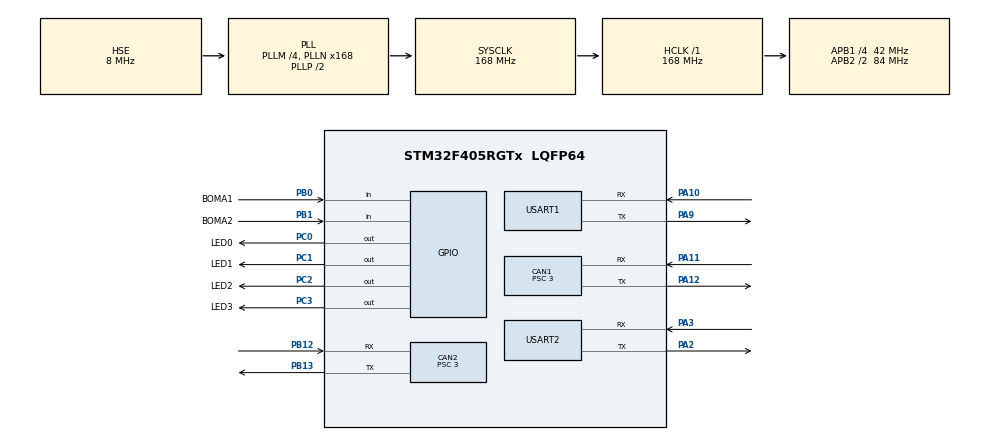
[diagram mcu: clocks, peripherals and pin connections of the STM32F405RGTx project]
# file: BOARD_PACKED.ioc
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CAN1.ABOM=ENABLE
CAN1.BS1=CAN_BS1_9TQ
CAN1.BS2=CAN_BS2_4TQ
CAN1.CalculateBaudRate=1000000
CAN1.CalculateTimeBit=1000
CAN1.CalculateTimeQuantum=71.42857142857143
CAN1.Prescaler=3
CAN2.ABOM=ENABLE
CAN2.BS1=CAN_BS1_9TQ
CAN2.BS2=CAN_BS2_4TQ
CAN2.CalculateBaudRate=1000000
CAN2.CalculateTimeBit=1000
CAN2.CalculateTimeQuantum=71.42857142857143
CAN2.Prescaler=3
FREERTOS.Tasks01=defaultTask,24,512,StartDefaultTask,Default,NULL,Dynamic,NULL,NULL;Send_Data,8,128,Send_Data_Function,Default,NULL,Dynamic,NULL,NULL
Mcu.Family=STM32F4
Mcu.Name=STM32F405RGTx
Mcu.Package=LQFP64
NVIC.CAN1_RX0_IRQn=true\:5\:0\:false\:false\:true\:true\:true\:true\:true
NVIC.CAN1_TX_IRQn=true\:5\:0\:false\:false\:true\:true\:true\:true\:true
NVIC.CAN2_RX0_IRQn=true\:5\:0\:false\:false\:true\:true\:true\:true\:true
NVIC.CAN2_TX_IRQn=true\:5\:0\:false\:false\:true\:true\:true\:true\:true
NVIC.PriorityGroup=NVIC_PRIORITYGROUP_4
NVIC.TIM2_IRQn=true\:5\:0\:false\:false\:true\:true\:true\:true\:true
NVIC.TIM3_IRQn=true\:15\:0\:false\:false\:true\:false\:false\:true\:true
NVIC.TimeBase=TIM3_IRQn
NVIC.TimeBaseIP=TIM3
NVIC.USART1_IRQn=true\:5\:0\:false\:false\:true\:true\:true\:true\:true
NVIC.USART2_IRQn=true\:5\:0\:false\:false\:true\:true\:true\:true\:true
PA10.GPIO_PuPd=GPIO_PULLUP
PA10.Mode=Asynchronous
PA10.Signal=USART1_RX
PA11.Mode=CAN_Activate
PA11.Signal=CAN1_RX
PA12.Mode=CAN_Activate
PA12.Signal=CAN1_TX
PA13.Mode=Serial_Wire
PA13.Signal=SYS_JTMS-SWDIO
PA14.Mode=Serial_Wire
PA14.Signal=SYS_JTCK-SWCLK
PA2.GPIO_PuPd=GPIO_PULLUP
PA2.Mode=Asynchronous
PA2.Signal=USART2_TX
PA3.GPIO_PuPd=GPIO_PULLUP
PA3.Mode=Asynchronous
PA3.Signal=USART2_RX
PA9.GPIO_PuPd=GPIO_PULLUP
PA9.Mode=Asynchronous
PA9.Signal=USART1_TX
PB0.GPIO_Label=BOMA1
PB0.GPIO_PuPd=GPIO_PULLUP
PB0.Signal=GPIO_Input
PB1.GPIO_Label=BOMA2
PB1.GPIO_PuPd=GPIO_PULLUP
PB1.Signal=GPIO_Input
PB12.Mode=CAN_Activate
PB12.Signal=CAN2_RX
PB13.Mode=CAN_Activate
PB13.Signal=CAN2_TX
PC0.GPIO_Label=LED0
PC0.GPIO_Speed=GPIO_SPEED_FREQ_HIGH
PC0.PinState=GPIO_PIN_SET
PC0.Signal=GPIO_Output
PC1.GPIO_Label=LED1
PC1.GPIO_Speed=GPIO_SPEED_FREQ_HIGH
PC1.PinState=GPIO_PIN_SET
PC1.Signal=GPIO_Output
PC14-OSC32_IN.Mode=LSE-External-Oscillator
PC14-OSC32_IN.Signal=RCC_OSC32_IN
PC15-OSC32_OUT.Mode=LSE-External-Oscillator
PC15-OSC32_OUT.Signal=RCC_OSC32_OUT
PC2.GPIO_Label=LED2
PC2.GPIO_Speed=GPIO_SPEED_FREQ_HIGH
PC2.PinState=GPIO_PIN_SET
PC2.Signal=GPIO_Output
PC3.GPIO_Label=LED3
PC3.GPIO_Speed=GPIO_SPEED_FREQ_HIGH
PC3.PinState=GPIO_PIN_SET
PC3.Signal=GPIO_Output
PH0-OSC_IN.Mode=HSE-External-Oscillator
PH0-OSC_IN.Signal=RCC_OSC_IN
PH1-OSC_OUT.Mode=HSE-External-Oscillator
PH1-OSC_OUT.Signal=RCC_OSC_OUT
ProjectManager.HeapSize=0x200
ProjectManager.StackSize=0x400
ProjectManager.TargetToolchain=MDK-ARM V5.32
RCC.48MHZClocksFreq_Value=84000000
RCC.AHBFreq_Value=168000000
RCC.APB1CLKDivider=RCC_HCLK_DIV4
RCC.APB1Freq_Value=42000000
RCC.APB1TimFreq_Value=84000000
RCC.APB2CLKDivider=RCC_HCLK_DIV2
RCC.APB2Freq_Value=84000000
RCC.APB2TimFreq_Value=168000000
RCC.CortexFreq_Value=168000000
RCC.HCLKFreq_Value=168000000
RCC.HSE_VALUE=8000000
RCC.HSI_VALUE=16000000
RCC.PLLM=4
RCC.PLLN=168
RCC.PLLSourceVirtual=RCC_PLLSOURCE_HSE
RCC.SYSCLKFreq_VALUE=168000000
RCC.SYSCLKSource=RCC_SYSCLKSOURCE_PLLCLK
RCC.VCOOutputFreq_Value=336000000
TIM2.AutoReloadPreload=TIM_AUTORELOAD_PRELOAD_ENABLE
TIM2.Period=9999
TIM2.Prescaler=83
USART1.VirtualMode=VM_ASYNC
USART2.VirtualMode=VM_ASYNC
VP_FREERTOS_VS_CMSIS_V2.Mode=CMSIS_V2
VP_SYS_VS_tim3.Mode=TIM3
VP_TIM2_VS_ClockSourceINT.Mode=Internal
board=custom

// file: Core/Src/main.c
/* USER CODE BEGIN Header */
/**
  ******************************************************************************
  * @file           : main.c
  * @brief          : Main program body
  ******************************************************************************
  * @attention
  *
  * Copyright (c) 2023 STMicroelectronics.
  * All rights reserved.
  *
  * This software is licensed under terms that can be found in the LICENSE file
  * in the root directory of this software component.
  * If no LICENSE file comes with this software, it is provided AS-IS.
  *
  ******************************************************************************
  */
/* USER CODE END Header */
#include "main.h"
#include "cmsis_os.h"
#include "can.h"
#include "tim.h"
#include "usart.h"
#include "gpio.h"

void SystemClock_Config(void);
void MX_FREERTOS_Init(void);

int main(void)
{

  /* MCU Configuration--------------------------------------------------------*/

  /* Reset of all peripherals, Initializes the Flash interface and the Systick. */
  HAL_Init();

  /* Configure the system clock */
  SystemClock_Config();

  /* Initialize all configured peripherals */
  MX_GPIO_Init();
  MX_CAN1_Init();
  MX_CAN2_Init();
  MX_TIM2_Init();
  MX_USART1_UART_Init();
  MX_USART2_UART_Init();
  /* USER CODE BEGIN 2 */
  HAL_TIM_Base_Start_IT(&htim2);  //start the tim2
	User_Open_Can1();
  VESC_Init();
  Pid_Init_All();
  /* USER CODE END 2 */

  /* Init scheduler */
  osKernelInitialize();  /* Call init function for freertos objects (in freertos.c) */
  MX_FREERTOS_Init();

  /* Start scheduler */
  osKernelStart();
  /* We should never get here as control is now taken by the scheduler */
  /* Infinite loop */
  while (1)
  {

  }
}

void SystemClock_Config(void)
{
  RCC_OscInitTypeDef RCC_OscInitStruct = {0};
  RCC_ClkInitTypeDef RCC_ClkInitStruct = {0};

  /** Configure the main internal regulator output voltage
  */
  __HAL_RCC_PWR_CLK_ENABLE();
  __HAL_PWR_VOLTAGESCALING_CONFIG(PWR_REGULATOR_VOLTAGE_SCALE1);

  /** Initializes the RCC Oscillators according to the specified parameters
  * in the RCC_OscInitTypeDef structure.
  */
  RCC_OscInitStruct.OscillatorType = RCC_OSCILLATORTYPE_HSE;
  RCC_OscInitStruct.HSEState = RCC_HSE_ON;
  RCC_OscInitStruct.PLL.PLLState = RCC_PLL_ON;
  RCC_OscInitStruct.PLL.PLLSource = RCC_PLLSOURCE_HSE;
  RCC_OscInitStruct.PLL.PLLM = 4;
  RCC_OscInitStruct.PLL.PLLN = 168;
  RCC_OscInitStruct.PLL.PLLP = RCC_PLLP_DIV2;
  RCC_OscInitStruct.PLL.PLLQ = 4;
  if (HAL_RCC_OscConfig(&RCC_OscInitStruct) != HAL_OK)
  {
    Error_Handler();
  }

  /** Initializes the CPU, AHB and APB buses clocks
  */
  RCC_ClkInitStruct.ClockType = RCC_CLOCKTYPE_HCLK|RCC_CLOCKTYPE_SYSCLK
                              |RCC_CLOCKTYPE_PCLK1|RCC_CLOCKTYPE_PCLK2;
  RCC_ClkInitStruct.SYSCLKSource = RCC_SYSCLKSOURCE_PLLCLK;
  RCC_ClkInitStruct.AHBCLKDivider = RCC_SYSCLK_DIV1;
  RCC_ClkInitStruct.APB1CLKDivider = RCC_HCLK_DIV4;
  RCC_ClkInitStruct.APB2CLKDivider = RCC_HCLK_DIV2;

  if (HAL_RCC_ClockConfig(&RCC_ClkInitStruct, FLASH_LATENCY_5) != HAL_OK)
  {
    Error_Handler();
  }
}

/* USER CODE BEGIN 4 */
uint16_t send_can = 0;
/* USER CODE END 4 */

void HAL_TIM_PeriodElapsedCallback(TIM_HandleTypeDef *htim)
{
  if (htim->Instance == TIM3) {
    HAL_IncTick();
  }
  /* USER CODE BEGIN Callback 1 */
  if(htim == &htim2)
  {
    LED_SHOW.CAN1_Send = 0;
    LED_SHOW.CAN2_Recieve = 0;
    LED_SHOW.CAN1_Recieve = 0;
    LED_SHOW.CAN2_Recieve = 0;
    CONTROL.CAN_TIMER = 1;
    send_can=1;
  }
  /* USER CODE END Callback 1 */
}

void Error_Handler(void)
{
  __disable_irq();
  while (1)
  {
  }
}

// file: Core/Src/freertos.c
/* USER CODE BEGIN Header */
/**
  ******************************************************************************
  * File Name          : freertos.c
  * Description        : Code for freertos applications
  ******************************************************************************
  * @attention
  *
  * Copyright (c) 2023 STMicroelectronics.
  * All rights reserved.
  *
  * This software is licensed under terms that can be found in the LICENSE file
  * in the root directory of this software component.
  * If no LICENSE file comes with this software, it is provided AS-IS.
  *
  ******************************************************************************
  */
/* USER CODE END Header */

#include "FreeRTOS.h"
#include "task.h"
#include "main.h"
#include "cmsis_os.h"

/* Definitions for defaultTask */
osThreadId_t defaultTaskHandle;
const osThreadAttr_t defaultTask_attributes = {
  .name = "defaultTask",
  .stack_size = 512 * 4,
  .priority = (osPriority_t) osPriorityNormal,
};
/* Definitions for Send_Data */
osThreadId_t Send_DataHandle;
const osThreadAttr_t Send_Data_attributes = {
  .name = "Send_Data",
  .stack_size = 128 * 4,
  .priority = (osPriority_t) osPriorityLow,
};

void StartDefaultTask(void *argument);
void Send_Data_Function(void *argument);

void MX_FREERTOS_Init(void); /* (MISRA C 2004 rule 8.1) */

void MX_FREERTOS_Init(void) {

  /* Create the thread(s) */
  /* creation of defaultTask */
  defaultTaskHandle = osThreadNew(StartDefaultTask, NULL, &defaultTask_attributes);

  /* creation of Send_Data */
  Send_DataHandle = osThreadNew(Send_Data_Function, NULL, &Send_Data_attributes);

}

void StartDefaultTask(void *argument)
{
  /* USER CODE BEGIN StartDefaultTask */
  static int8_t can_init_config_flag=0; //can config function
  /* Infinite loop */
  for(;;)
  {
    Board_Id_Set(); //The id judgment must be placed before User_Open_Can2(). Because a judgment about BOARD_ID is made in the function
    can_on_off_led();

    if(can_init_config_flag == 0)
    {
      User_Open_Can2();
      can_init_config_flag = 1;
    }

    can_loss();   //Masterrboard CAN signal loss processing

    if(CONTROL.BOARD_ID==BOARD_RM1||CONTROL.BOARD_ID==BOARD_RM2)
    {
      Motor_Control();  //DJI Motor controlled
    }
    else
    {
      static int index=0;
      for(int i=0; i<2; i++)
      {
        VESC_Control(&VESC_MOTO_INFO[i+index]);
      }
      index+=2;
      if(index>=6)
        index=0;
    }
    osDelay(1);
  }
  /* USER CODE END StartDefaultTask */
}

void Send_Data_Function(void *argument)
{
  /* USER CODE BEGIN Send_Data_Function */
  extern uint16_t send_can;
  /* Infinite loop */
  for(;;)
  {
    if(send_can == 1)
    {
      if(CONTROL.BOARD_ID==BOARD_RM1 || CONTROL.BOARD_ID==BOARD_RM2)
        Send_Rm_Motor_Msg();
      else
        Send_Vesc_Motor_Msg();
      send_can = 0;
    }
    osDelay(1);
  }
  /* USER CODE END Send_Data_Function */
}
